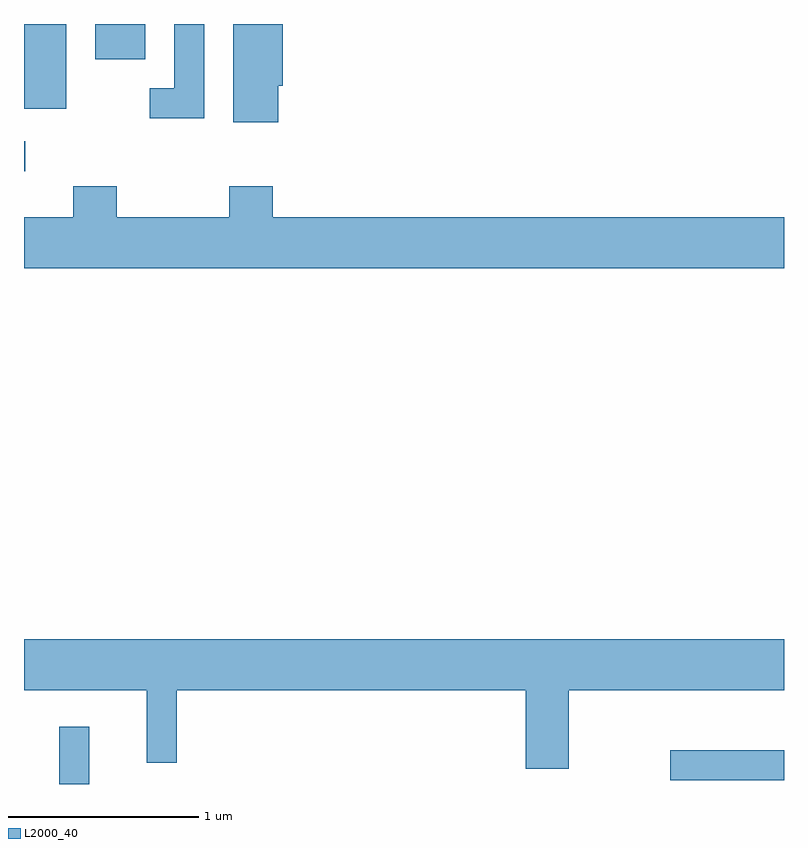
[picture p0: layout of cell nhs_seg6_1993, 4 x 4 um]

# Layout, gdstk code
import gdstk
lib = gdstk.Library(unit=1e-6, precision=1e-09)
def R(c, l, rs):  # rectangles x0, y0, x1, y1
    for r in rs: c.add(gdstk.rectangle(r[:2], r[2:], *l))
def P(c, l, *ps):  # polygons
    for p in ps: c.add(gdstk.Polygon(p, *l))
L2000_40 = (2000, 40)

nhs_seg6_1993 = lib.new_cell('nhs_seg6_1993')
R(nhs_seg6_1993, L2000_40, [(245.796,1596.162,245.954,1596.463), (249.013,1596.181,249.611,1596.339), (245.611,1599.386,245.618,1599.544), (245.611,1599.716,245.834,1600.162), (245.986,1599.976,246.249,1600.162)])
P(nhs_seg6_1993, L2000_40, [(246.949,1599.836),(246.974,1599.836),(246.974,1600.162),(246.711,1600.162),(246.711,1599.646),(246.949,1599.646)],
  [(246.559,1600.162),(246.401,1600.162),(246.401,1599.824),(246.273,1599.824),(246.273,1599.666),(246.559,1599.666)],
  [(249.611,1599.144),(246.919,1599.144),(246.919,1599.309),(246.691,1599.309),(246.691,1599.144),(246.099,1599.144),(246.099,1599.309),(245.871,1599.309),(245.871,1599.144),(245.611,1599.144),(245.611,1598.876),(249.611,1598.876)],
  [(248.479,1596.656),(249.611,1596.656),(249.611,1596.924),(245.611,1596.924),(245.611,1596.656),(246.256,1596.656),(246.256,1596.273),(246.414,1596.273),(246.414,1596.656),(248.251,1596.656),(248.251,1596.241),(248.479,1596.241)])

lib.write_gds('nhs_seg6_1993.gds')
